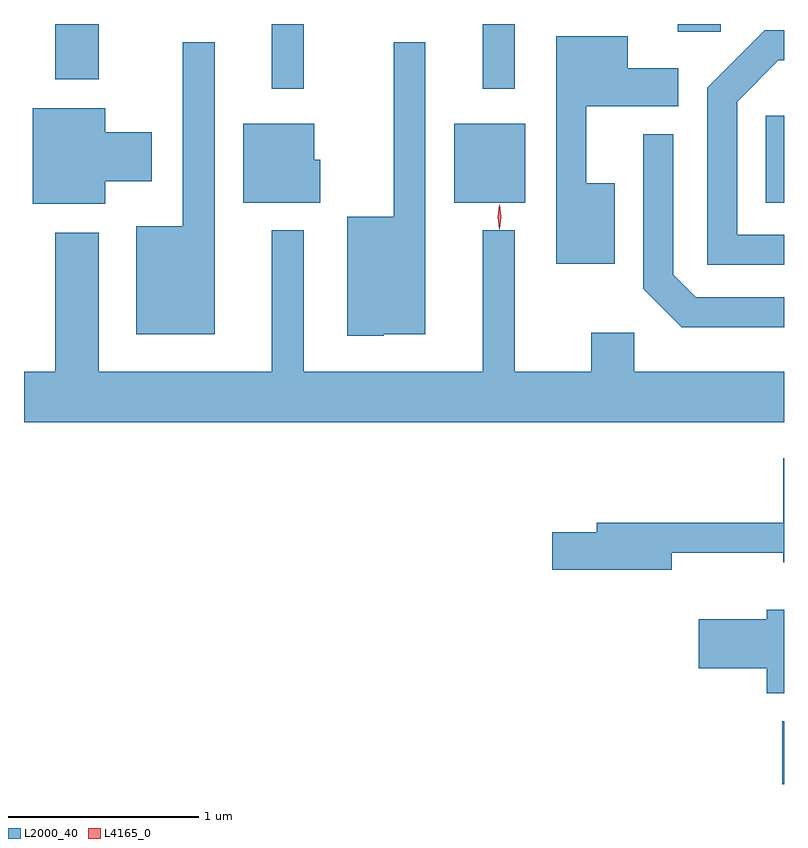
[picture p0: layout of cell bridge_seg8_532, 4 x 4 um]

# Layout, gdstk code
import gdstk
lib = gdstk.Library(unit=1e-6, precision=1e-09)
def R(c, l, rs):  # rectangles x0, y0, x1, y1
    for r in rs: c.add(gdstk.rectangle(r[:2], r[2:], *l))
def P(c, l, *ps):  # polygons
    for p in ps: c.add(gdstk.Polygon(p, *l))
L2000_40 = (2000, 40)
L4165_0 = (4165, 0)

bridge_seg8_532 = lib.new_cell('bridge_seg8_532')
R(bridge_seg8_532, L2000_40, [(228.316,1863.373,228.326,1863.703), (226.591,1866.431,226.964,1866.849), (228.231,1866.431,228.326,1866.889), (225.631,1867.033,225.799,1867.373), (226.741,1867.033,226.909,1867.373), (224.491,1867.081,224.719,1867.373), (227.766,1867.331,227.994,1867.373)])
P(bridge_seg8_532, L2000_40, [(228.326,1866.264),(228.079,1866.264),(228.079,1866.964),(228.297,1867.181),(228.326,1867.181),(228.326,1867.339),(228.224,1867.339),(227.921,1867.037),(227.921,1866.106),(228.326,1866.106)],
  [(227.434,1866.534),(227.284,1866.534),(227.284,1866.941),(227.769,1866.941),(227.769,1867.139),(227.504,1867.139),(227.504,1867.309),(227.126,1867.309),(227.126,1866.111),(227.434,1866.111)],
  [(225.329,1867.278),(225.161,1867.278),(225.161,1866.309),(224.916,1866.309),(224.916,1865.741),(225.329,1865.741)],
  [(226.22,1865.741),(226.439,1865.741),(226.439,1867.278),(226.271,1867.278),(226.271,1866.359),(226.026,1866.359),(226.026,1865.731),(226.22,1865.731)],
  [(224.754,1866.546),(224.999,1866.546),(224.999,1866.804),(224.754,1866.804),(224.754,1866.929),(224.371,1866.929),(224.371,1866.426),(224.754,1866.426)],
  [(225.884,1866.659),(225.854,1866.659),(225.854,1866.849),(225.481,1866.849),(225.481,1866.431),(225.884,1866.431)],
  [(228.326,1865.934),(227.862,1865.934),(227.744,1866.052),(227.744,1866.793),(227.586,1866.793),(227.586,1865.979),(227.789,1865.776),(228.326,1865.776)],
  [(228.326,1865.544),(227.539,1865.544),(227.539,1865.749),(227.311,1865.749),(227.311,1865.544),(226.909,1865.544),(226.909,1866.288),(226.741,1866.288),(226.741,1865.544),(225.799,1865.544),(225.799,1866.288),(225.631,1866.288),(225.631,1865.544),(224.719,1865.544),(224.719,1866.274),(224.491,1866.274),(224.491,1865.544),(224.326,1865.544),(224.326,1865.276),(228.326,1865.276)],
  [(227.734,1864.591),(228.321,1864.591),(228.321,1864.541),(228.326,1864.541),(228.326,1865.088),(228.321,1865.088),(228.321,1864.749),(227.341,1864.749),(227.341,1864.699),(227.106,1864.699),(227.106,1864.501),(227.734,1864.501)],
  [(228.326,1864.289),(228.236,1864.289),(228.236,1864.239),(227.876,1864.239),(227.876,1863.981),(228.236,1863.981),(228.236,1863.851),(228.326,1863.851)])
P(bridge_seg8_532, L4165_0, [(226.829,1866.292),(226.828,1866.293),(226.819,1866.357),(226.828,1866.422),(226.829,1866.422),(226.829,1866.422),(226.839,1866.357),(226.829,1866.293)])

lib.write_gds('bridge_seg8_532.gds')
